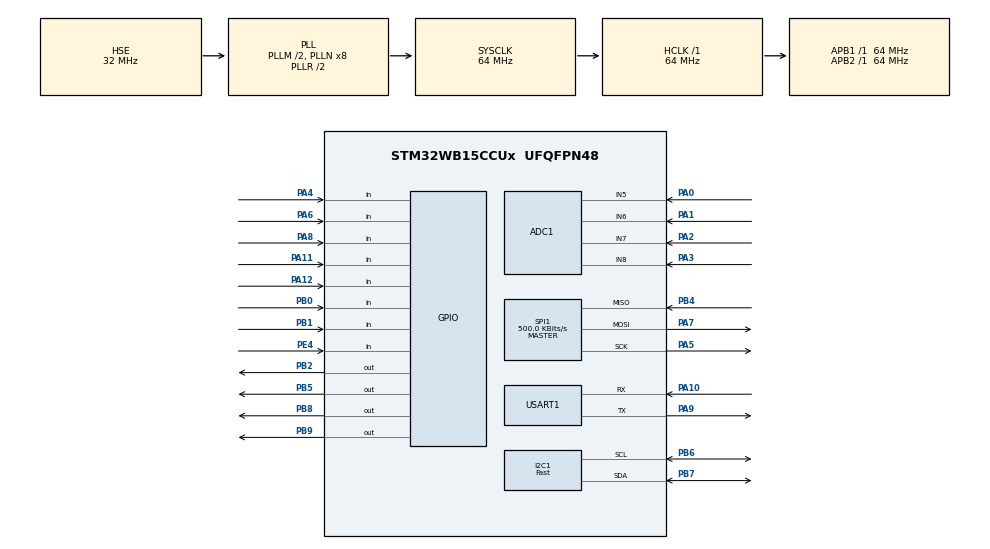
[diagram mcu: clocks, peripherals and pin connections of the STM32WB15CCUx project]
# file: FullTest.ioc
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ADC1.Channel-0\#ChannelRegularConversion=ADC_CHANNEL_5
ADC1.Channel-1\#ChannelRegularConversion=ADC_CHANNEL_6
ADC1.Channel-2\#ChannelRegularConversion=ADC_CHANNEL_7
ADC1.Channel-3\#ChannelRegularConversion=ADC_CHANNEL_8
ADC1.ClockPrescaler=ADC_CLOCK_ASYNC_DIV4
ADC1.ContinuousConvMode=ENABLE
ADC1.DMAContinuousRequests=ENABLE
ADC1.EOCSelection=ADC_EOC_SEQ_CONV
ADC1.NbrOfConversion=4
ADC1.NbrOfConversionFlag=1
ADC1.Overrun=ADC_OVR_DATA_OVERWRITTEN
ADC1.Rank-0\#ChannelRegularConversion=1
ADC1.Rank-1\#ChannelRegularConversion=2
ADC1.Rank-2\#ChannelRegularConversion=3
ADC1.Rank-3\#ChannelRegularConversion=4
ADC1.SamplingTime-0\#ChannelRegularConversion=ADC_SAMPLINGTIME_COMMON_1
ADC1.SamplingTime-1\#ChannelRegularConversion=ADC_SAMPLINGTIME_COMMON_1
ADC1.SamplingTime-2\#ChannelRegularConversion=ADC_SAMPLINGTIME_COMMON_1
ADC1.SamplingTime-3\#ChannelRegularConversion=ADC_SAMPLINGTIME_COMMON_1
ADC1.SamplingTimeCommon1=ADC_SAMPLETIME_19CYCLES_5
ADC1.SamplingTimeCommon2=ADC_SAMPLETIME_19CYCLES_5
ADC1.SelectedChannel=ADC_CHANNEL_5|ADC_CHANNEL_6|ADC_CHANNEL_7|ADC_CHANNEL_8
ADC1.master=1
Dma.ADC1.0.Direction=DMA_PERIPH_TO_MEMORY
Dma.ADC1.0.EventEnable=DISABLE
Dma.ADC1.0.Instance=DMA1_Channel1
Dma.ADC1.0.MemDataAlignment=DMA_MDATAALIGN_HALFWORD
Dma.ADC1.0.MemInc=DMA_MINC_ENABLE
Dma.ADC1.0.Mode=DMA_CIRCULAR
Dma.ADC1.0.PeriphDataAlignment=DMA_PDATAALIGN_HALFWORD
Dma.ADC1.0.PeriphInc=DMA_PINC_DISABLE
Dma.ADC1.0.Polarity=HAL_DMAMUX_REQ_GEN_RISING
Dma.ADC1.0.Priority=DMA_PRIORITY_MEDIUM
Dma.ADC1.0.RequestNumber=1
Dma.ADC1.0.SignalID=NONE
Dma.ADC1.0.SyncEnable=DISABLE
Dma.ADC1.0.SyncPolarity=HAL_DMAMUX_SYNC_NO_EVENT
Dma.ADC1.0.SyncRequestNumber=1
Dma.ADC1.0.SyncSignalID=NONE
Dma.Request0=ADC1
FATFS._FS_LOCK=0
FATFS._USE_LFN=1
I2C1.I2C_Speed_Mode=I2C_Fast
I2C1.Timing=0x00C12166
Mcu.Family=STM32WB
Mcu.Name=STM32WB15CCUx
Mcu.Package=UFQFPN48
NUCLEO-WB15CC.VCP=false
NVIC.HSEM_IRQn=true\:0\:0\:false\:false\:true\:false\:true\:true
NVIC.IPCC_C1_RX_IRQn=true\:0\:0\:false\:false\:true\:true\:true\:true
NVIC.IPCC_C1_TX_IRQn=true\:0\:0\:false\:false\:true\:true\:true\:true
NVIC.PriorityGroup=NVIC_PRIORITYGROUP_4
OSC_IN.GPIO_Label=RCC_OSC_IN
OSC_IN.Mode=HSE-External-Oscillator
OSC_IN.Signal=RCC_OSC_IN
OSC_OUT.GPIO_Label=RCC_OSC_OUT
OSC_OUT.Mode=HSE-External-Oscillator
OSC_OUT.Signal=RCC_OSC_OUT
PA0.Signal=ADCx_IN5
PA1.Signal=ADCx_IN6
PA10.Mode=Asynchronous
PA10.Signal=USART1_RX
PA11.GPIO_PuPd=GPIO_PULLUP
PA11.Signal=GPIO_Input
PA12.GPIO_PuPd=GPIO_PULLUP
PA12.Signal=GPIO_Input
PA13.GPIO_Label=JTMS
PA13.Signal=SYS_JTMS-SWDIO
PA14.GPIO_Label=JTCK
PA14.Signal=SYS_JTCK-SWCLK
PA2.Signal=ADCx_IN7
PA3.Signal=ADCx_IN8
PA4.GPIO_PuPd=GPIO_PULLUP
PA4.Signal=GPIO_Input
PA5.GPIO_PuPd=GPIO_PULLUP
PA5.Mode=Full_Duplex_Master
PA5.Signal=SPI1_SCK
PA6.GPIO_PuPd=GPIO_PULLUP
PA6.Signal=GPIO_Input
PA7.GPIO_PuPd=GPIO_PULLUP
PA7.Mode=Full_Duplex_Master
PA7.Signal=SPI1_MOSI
PA8.GPIO_PuPd=GPIO_PULLUP
PA8.Signal=GPIO_Input
PA9.Mode=Asynchronous
PA9.Signal=USART1_TX
PB0.GPIO_PuPd=GPIO_PULLUP
PB0.Signal=GPIO_Input
PB1.GPIO_PuPd=GPIO_PULLUP
PB1.Signal=GPIO_Input
PB2.GPIO_PuPd=GPIO_PULLUP
PB2.PinState=GPIO_PIN_SET
PB2.Signal=GPIO_Output
PB3.GPIO_Label=JTDO
PB3.Signal=SYS_JTDO-SWO
PB4.GPIO_PuPd=GPIO_PULLUP
PB4.Mode=Full_Duplex_Master
PB4.Signal=SPI1_MISO
PB5.Signal=GPIO_Output
PB6.Mode=I2C
PB6.Signal=I2C1_SCL
PB7.Mode=I2C
PB7.Signal=I2C1_SDA
PB8.Signal=GPIO_Output
PB9.Signal=GPIO_Output
PC14-OSC32_IN.Mode=LSE-External-Oscillator
PC14-OSC32_IN.Signal=RCC_OSC32_IN
PC15-OSC32_OUT.Mode=LSE-External-Oscillator
PC15-OSC32_OUT.Signal=RCC_OSC32_OUT
PE4.GPIO_PuPd=GPIO_PULLUP
PE4.Signal=GPIO_Input
ProjectManager.HeapSize=0x200
ProjectManager.StackSize=0x400
ProjectManager.TargetToolchain=STM32CubeIDE
RCC.AHB2CLKDivider=RCC_SYSCLK_DIV2
RCC.AHBFreq_Value=64000000
RCC.APB1Freq_Value=64000000
RCC.APB1TimFreq_Value=64000000
RCC.APB2Freq_Value=64000000
RCC.APB2TimFreq_Value=64000000
RCC.APB3Freq_Value=16000000
RCC.CortexFreq_Value=64000000
RCC.HCLKFreq_Value=64000000
RCC.HSE_VALUE=32000000
RCC.HSI_VALUE=16000000
RCC.PLLM=RCC_PLLM_DIV2
RCC.PLLSourceVirtual=RCC_PLLSOURCE_HSE
RCC.SYSCLKFreq_VALUE=64000000
RCC.SYSCLKSource=RCC_SYSCLKSOURCE_PLLCLK
RCC.VCOOutputFreq_Value=128000000
RF1.Mode=RF1_Activate
RF1.Signal=RF_RF1
SH.ADCx_IN5.0=ADC1_IN5,IN5-Single-Ended
SH.ADCx_IN6.0=ADC1_IN6,IN6-Single-Ended
SH.ADCx_IN7.0=ADC1_IN7,IN7-Single-Ended
SH.ADCx_IN8.0=ADC1_IN8,IN8-Single-Ended
SPI1.BaudRatePrescaler=SPI_BAUDRATEPRESCALER_128
SPI1.CalculateBaudRate=500.0 KBits/s
SPI1.Direction=SPI_DIRECTION_2LINES
SPI1.Mode=SPI_MODE_MASTER
SPI1.VirtualType=VM_MASTER
STM32_WPAN.CUSTOM_P2P_SERVER=Disabled
USART1.VirtualMode-Asynchronous=VM_ASYNC
VP_FATFS_VS_Generic.Mode=User_defined
VP_HSEM_VS_HSEM.Mode=HSEM_Activate
VP_IPCC_VS_IPCC.Mode=IPCC_Activate
VP_MEMORYMAP_VS_MEMORYMAP.Mode=CurAppReg
VP_NUCLEO-WB15CC_VS_BSP_COMMON.Mode=COMMON
VP_RNG_VS_RNG.Mode=RNG_Activate
VP_RTC_VS_RTC_Activate.Mode=RTC_Enabled
VP_RTC_VS_RTC_Calendar.Mode=RTC_Calendar
VP_RTC_VS_RTC_WakeUp_intern.Mode=WakeUp
VP_SEQUENCER_VS_SEQUENCER.Mode=SEQUENCER_Enabled
VP_STM32_WPAN_VS_BLE_HOST.Mode=STM32_WPAN_Enabled
VP_TINY_LPM_VS_TINY_LPM.Mode=TINY_LPM_Enabled
board=NUCLEO-WB15CC

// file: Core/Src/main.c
/* USER CODE BEGIN Header */
/**
  ******************************************************************************
  * @file           : main.c
  * @brief          : Main program body
  ******************************************************************************
  * @attention
  *
  * Copyright (c) 2026 STMicroelectronics.
  * All rights reserved.
  *
  * This software is licensed under terms that can be found in the LICENSE file
  * in the root directory of this software component.
  * If no LICENSE file comes with this software, it is provided AS-IS.
  *
  ******************************************************************************
  */
/* USER CODE END Header */
#include "main.h"
#include "app_fatfs.h"

/* USER CODE BEGIN Includes */

#include <stdio.h>
#include "icm20948.h"
#include "stm32_seq.h"
#include "hids_app.h"

#include "config.h"
#include "pins.h"

#include "buttons.h"
#include "led.h"
#include "motor.h"
#include "gesture_detector.h"
#include "adaptive_analyzer.h"
#include "gyro_to_mouse.h"
#include "sensor_data.h"
#include "gyro_filters.h"

/* USER CODE END Includes */

ADC_HandleTypeDef hadc1;

DMA_HandleTypeDef hdma_adc1;

I2C_HandleTypeDef hi2c1;

IPCC_HandleTypeDef hipcc;

RNG_HandleTypeDef hrng;

RTC_HandleTypeDef hrtc;

SPI_HandleTypeDef hspi1;

UART_HandleTypeDef huart1;

/* USER CODE BEGIN PV */

ICM20948_Data_t imu_data;

MagData_t mag_data;

/* USER CODE END PV */

void SystemClock_Config(void);
void PeriphCommonClock_Config(void);
static void MX_RF_Init(void);
static void MX_GPIO_Init(void);
static void MX_DMA_Init(void);
static void MX_ADC1_Init(void);
static void MX_I2C1_Init(void);
static void MX_SPI1_Init(void);
static void MX_IPCC_Init(void);
static void MX_RNG_Init(void);
static void MX_RTC_Init(void);
static void MX_USART1_UART_Init(void);
/* USER CODE BEGIN PFP */

void TakeData(SensorData_t *datastruct);
void PrintDisplay(SensorData_t *data, bool blockHID, MousePos_t mouse_pos, GestureType_t gesture);
void PrintAnalyzerView(void);
void PrintLogView(void);

/* USER CODE END PFP */

/* USER CODE BEGIN 0 */

volatile uint16_t adc_results[4] __attribute__((aligned(32)));

/* USER CODE END 0 */

int main(void)
{

    HAL_Init();
    MX_APPE_Config();

    SystemClock_Config();
    PeriphCommonClock_Config();
    MX_IPCC_Init();

    MX_RF_Init();
    MX_GPIO_Init();
    MX_DMA_Init();
    MX_ADC1_Init();
    MX_I2C1_Init();
    MX_SPI1_Init();
    if (MX_FATFS_Init() != APP_OK)
    {
        Error_Handler();
    }
    MX_RNG_Init();
    MX_RTC_Init();
    MX_USART1_UART_Init();

    MX_APPE_Init();

    /* USER CODE BEGIN WHILE */

    printf("\033[2J\033[H");

    printf("Setting up device...\r\n");

    extern FATFS USERFatFs;
    extern FIL   USERFile;
    extern char  USERPath[4];

    printf("Loading Initial Configs...\r\n");
    Config_Init();
    printf("Initial Configs Loaded!\r\n");

    printf("\r\nCalibrating ADC...\r\n");
    if (HAL_ADCEx_Calibration_Start(&hadc1, ADC_SINGLE_ENDED) != HAL_OK)
    {
        printf("ADC Calibration failed!\r\n");
        while(1);
    }
    printf("ADC calibrated successfully!\r\n");

    printf("Starting DMA...\r\n");
    if (HAL_ADC_Start_DMA(&hadc1, (uint32_t*)adc_results, 4) != HAL_OK)
    {
        printf("DMA start failed!\r\n");
        while(1);
    }
    printf("DMA started successfully!\r\n");

    /*
    HAL_Delay(100);

    int32_t sum_js1_x = 0, sum_js1_y = 0, sum_js2_x = 0, sum_js2_y = 0;
    uint32_t sample_count = 0;

    uint32_t start_time = HAL_GetTick();
    while (HAL_GetTick() - start_time < 1000)
    {
        sum_js1_x += adc_results[0];
        sum_js1_y += adc_results[1];
        sum_js2_x += adc_results[2];
        sum_js2_y += adc_results[3];
        sample_count++;
        HAL_Delay(10);
    }

    if (sample_count > 0)
    {
        float avg_js1_x = (float)sum_js1_x / sample_count;
        float avg_js1_y = (float)sum_js1_y / sample_count;
        float avg_js2_x = (float)sum_js2_x / sample_count;
        float avg_js2_y = (float)sum_js2_y / sample_count;

        printf("--- Joystick Neutral Position (avg over %lu samples) ---\r\n", (unsigned long)sample_count);
        printf("JS1 X:%6.1f Y:%6.1f\r\n", avg_js1_x, avg_js1_y);
        printf("JS2 X:%6.1f Y:%6.1f\r\n", avg_js2_x, avg_js2_y);

    }
    printf("\r\n");*/

    printf("Initializing ICM-20948...\r\n");
    if (ICM20948_Init(&hi2c1) != HAL_OK)
    {
        printf("ICM-20948 initialization failed!\r\n");
    }
    printf("ICM-20948 initialized successfully!\r\n");

    // Test 1.1 - WHO_AM_I check
    uint8_t who_am_i;
    if (ICM20948_WhoAmI(&hi2c1, &who_am_i) == HAL_OK)
    {
        printf("WHO_AM_I = 0x%02X (expected 0xEA) -> %s\r\n",
            who_am_i, (who_am_i == 0xEA) ? "PASS" : "FAIL");
    }
    else
    {
        printf("WHO_AM_I read failed -> FAIL\r\n");
    }

    printf("Initializing magnetometer...\r\n");
    if (ICM20948_InitMagnetometer(&hi2c1) != HAL_OK)
    {
        printf("Magnetometer initialization failed!\r\n");
    }
    printf("Magnetometer ready!\r\n");

    /* Test 1.2/1.3/1.4 - Average sensor values at rest over 5 seconds
    printf("--- Averaging Sensor Values at Rest (5s) ---\r\n");

    int32_t sum_gyro_x = 0, sum_gyro_y = 0, sum_gyro_z = 0;
    int32_t sum_accel_x = 0, sum_accel_y = 0, sum_accel_z = 0;
    float   sum_mag_x = 0, sum_mag_y = 0, sum_mag_z = 0;
    uint32_t sample_count = 0;

    ICM20948_Data_t test_data;
    MagData_t       test_mag;

    uint32_t start_time = HAL_GetTick();
    while (HAL_GetTick() - start_time < 5000)
    {
        if (ICM20948_ReadAll(&hi2c1, &test_data) == HAL_OK)
        {
            sum_gyro_x  += test_data.gyro_x;
            sum_gyro_y  += test_data.gyro_y;
            sum_gyro_z  += test_data.gyro_z;
            sum_accel_x += test_data.accel_x;
            sum_accel_y += test_data.accel_y;
            sum_accel_z += test_data.accel_z;

            if (ICM20948_ReadMagnetometer(&hi2c1, &test_mag) == HAL_OK)
            {
                sum_mag_x += test_mag.x_ut;
                sum_mag_y += test_mag.y_ut;
                sum_mag_z += test_mag.z_ut;
            }

            sample_count++;
        }
        HAL_Delay(10);
    }

    if (sample_count > 0)
    {
        printf("Samples: %lu\r\n", (unsigned long)sample_count);
        printf("Gyro  AVG X:%6.1f Y:%6.1f Z:%6.1f\r\n",
            (float)sum_gyro_x / sample_count,
            (float)sum_gyro_y / sample_count,
            (float)sum_gyro_z / sample_count);
        printf("Accel AVG X:%6.1f Y:%6.1f Z:%6.1f\r\n",
            (float)sum_accel_x / sample_count,
            (float)sum_accel_y / sample_count,
            (float)sum_accel_z / sample_count);
        printf("Mag   AVG X:%7.2f Y:%7.2f Z:%7.2f uT\r\n",
            sum_mag_x / sample_count,
            sum_mag_y / sample_count,
            sum_mag_z / sample_count);
    }
    else
    {
        printf("No samples collected\r\n");
    }
    printf("\r\n");*/

    printf("Initializing SDCard Reader and Data Logger...\r\n");
    DataLogger_Init(&USERFatFs, &USERFile, USERPath);
    DataLogger_LoadConfig();
    printf("SDCard Reader and Data Logger ready!\r\n");

    printf("Initializing modules...\r\n");
    GestureDetector_Init();

    printf("Initializing Variables...\r\n");
    static uint32_t last_led_toggle = 0;
    static bool     motor_triggered = false;
    static uint8_t  display_page    = 0;
    static float    smooth_gyro_x   = 0.0f;
    static float    smooth_gyro_y   = 0.0f;
    static float    smooth_gyro_z   = 0.0f;
    static float    smooth_mag_x    = 0.0f;
    static float    smooth_mag_y    = 0.0f;
    static float    smooth_mag_z    = 0.0f;
    static bool     first           = true;
    static bool     blockHID        = false;
    SensorData_t    sensor_data;

    printf("Entering Main Loop!\r\n");

    /* USER CODE END 2 */

    while (1)
    {
        /* USER CODE END WHILE */

        MX_APPE_Process();
        UTIL_SEQ_Run(UTIL_SEQ_DEFAULT);

        /* USER CODE BEGIN 3 */

        // Update timers
        DataLogger_Update();
        setMotorTimed_Update();

        // Heartbeat LED
        if (HAL_GetTick() - last_led_toggle >= 500)
        {
            toggleLED();
            last_led_toggle = HAL_GetTick();
        }

        // Read all sensor data
        TakeData(&sensor_data);

        // Gyro bias correction
        sensor_data.gyro_x -= (int16_t)gyro_bias_x;
        sensor_data.gyro_y -= (int16_t)gyro_bias_y;

        // BUTTON5 - block HID
        // BUTTON5 - toggle HID block
        static bool btn5_last = true;
        bool btn5_now = sensor_data.buttons.BUTTON5;
        if (btn5_last == false && btn5_now == true)
        {
            blockHID = !blockHID;
        }
        btn5_last = btn5_now;

        // BUTTON6 - haptic feedback
        if (!sensor_data.buttons.BUTTON6)
        {
            if (!motor_triggered)
            {
                setMotorTimed(BOTH, 1000);
                motor_triggered = true;
            }
        }
        else
        {
            motor_triggered = false;
        }

        // JS1 - run adaptive analyzer
        static bool js1_last = true;
        bool js1_now = sensor_data.buttons.JOYSTICKBUTTON1;
        if (js1_last == false && js1_now == true)
        {
            AdaptiveAnalyzer_Run();
        }
        js1_last = js1_now;

        // JS2 - break config for demo
        static bool js2_last = true;
        bool js2_now = sensor_data.buttons.BUTTON2;
        if (js2_last == false && js2_now == true)
        {
            AdaptiveAnalyzer_BreakConfig();
        }
        js2_last = js2_now;

        // BUTTON4 - cycle display page
        static bool btn4_last = true;
        bool btn4_now = sensor_data.buttons.BUTTON4;
        if (btn4_last == false && btn4_now == true)
        {
            display_page = (display_page + 1) % 4;
            printf("\033[2J\033[H");
        }
        btn4_last = btn4_now;

        // Gesture detection and haptic feedback
        GestureType_t gesture = GestureDetector_Update(&sensor_data);
        if (gesture != GESTURE_NONE)
        {
            switch (gesture)
            {
                case GESTURE_NONE:       break;
                case GESTURE_FLICK_LEFT:  setMotorTimed(BOTH, 100); break;
                case GESTURE_FLICK_RIGHT: setMotorTimed(BOTH, 100); break;
                case GESTURE_FLICK_UP:    setMotorTimed(BOTH, 100); break;
                case GESTURE_FLICK_DOWN:  setMotorTimed(BOTH, 100); break;
                case GESTURE_ROTATE_CW:   setMotorTimed(BOTH, 100); break;
                case GESTURE_ROTATE_CCW:  setMotorTimed(BOTH, 100); break;
            }
        }

        // Calculate Cursor Movement
        MousePos_t mouse_pos = GyroMouse_Update(sensor_data.mag_x, sensor_data.mag_y, sensor_data.mag_z, blockHID);

        // BLE HID mouse reports via gyroscope
		static bool  last_block = false;
		static float accum_x    = 0.0f;
		static float accum_y    = 0.0f;

		if (last_block && !blockHID)
			HIDSAPP_SendMouseReport(0, 0, 0);
		last_block = blockHID;

		if (!blockHID)
		{
			float sg_x, sg_y;
			GyroMouse_GetSmoothedGyro(sensor_data.gyro_x, sensor_data.gyro_y, &sg_x, &sg_y);

			accum_x += -sg_y / 1500.0f;
			accum_y +=  sg_x / 1500.0f;

			if (accum_x >  20.0f) accum_x =  20.0f;
			if (accum_x < -20.0f) accum_x = -20.0f;
			if (accum_y >  20.0f) accum_y =  20.0f;
			if (accum_y < -20.0f) accum_y = -20.0f;

			int8_t report_x = (int8_t)accum_x;
			int8_t report_y = (int8_t)accum_y;

			accum_x -= report_x;
			accum_y -= report_y;

			//printf("Sending HID Report: X = %f, Y = %f\r\n", accum_x, accum_y);
			HIDSAPP_SendMouseReport(report_x, report_y, 0);
		}

        // Display
        switch (display_page)
        {
            case 0: break;
            case 1: PrintDisplay(&sensor_data, blockHID, mouse_pos, gesture); break;
            case 2: PrintAnalyzerView(); break;
            case 3: PrintLogView(); break;
        }
    }
    /* USER CODE END 3 */
}

void SystemClock_Config(void)
{
  RCC_OscInitTypeDef RCC_OscInitStruct = {0};
  RCC_ClkInitTypeDef RCC_ClkInitStruct = {0};

  /** Initializes the RCC Oscillators according to the specified parameters
  * in the RCC_OscInitTypeDef structure.
  */
  RCC_OscInitStruct.OscillatorType = RCC_OSCILLATORTYPE_HSI|RCC_OSCILLATORTYPE_LSI1
                              |RCC_OSCILLATORTYPE_HSE;
  RCC_OscInitStruct.HSEState = RCC_HSE_ON;
  RCC_OscInitStruct.HSIState = RCC_HSI_ON;
  RCC_OscInitStruct.HSICalibrationValue = RCC_HSICALIBRATION_DEFAULT;
  RCC_OscInitStruct.LSIState = RCC_LSI_ON;
  RCC_OscInitStruct.PLL.PLLState = RCC_PLL_ON;
  RCC_OscInitStruct.PLL.PLLSource = RCC_PLLSOURCE_HSE;
  RCC_OscInitStruct.PLL.PLLM = RCC_PLLM_DIV2;
  RCC_OscInitStruct.PLL.PLLN = 8;
  RCC_OscInitStruct.PLL.PLLP = RCC_PLLP_DIV2;
  RCC_OscInitStruct.PLL.PLLR = RCC_PLLR_DIV2;
  RCC_OscInitStruct.PLL.PLLQ = RCC_PLLQ_DIV2;
  if (HAL_RCC_OscConfig(&RCC_OscInitStruct) != HAL_OK)
  {
    Error_Handler();
  }

  /** Configure the SYSCLKSource, HCLK, PCLK1 and PCLK2 clocks dividers
  */
  RCC_ClkInitStruct.ClockType = RCC_CLOCKTYPE_HCLK4|RCC_CLOCKTYPE_HCLK2
                              |RCC_CLOCKTYPE_HCLK|RCC_CLOCKTYPE_SYSCLK
                              |RCC_CLOCKTYPE_PCLK1|RCC_CLOCKTYPE_PCLK2;
  RCC_ClkInitStruct.SYSCLKSource = RCC_SYSCLKSOURCE_PLLCLK;
  RCC_ClkInitStruct.AHBCLKDivider = RCC_SYSCLK_DIV1;
  RCC_ClkInitStruct.APB1CLKDivider = RCC_HCLK_DIV1;
  RCC_ClkInitStruct.APB2CLKDivider = RCC_HCLK_DIV1;
  RCC_ClkInitStruct.AHBCLK2Divider = RCC_SYSCLK_DIV2;
  RCC_ClkInitStruct.AHBCLK4Divider = RCC_SYSCLK_DIV1;

  if (HAL_RCC_ClockConfig(&RCC_ClkInitStruct, FLASH_LATENCY_3) != HAL_OK)
  {
    Error_Handler();
  }
}

void PeriphCommonClock_Config(void)
{
  RCC_PeriphCLKInitTypeDef PeriphClkInitStruct = {0};

  /** Initializes the peripherals clock
  */
  PeriphClkInitStruct.PeriphClockSelection = RCC_PERIPHCLK_SMPS|RCC_PERIPHCLK_RFWAKEUP;
  PeriphClkInitStruct.RFWakeUpClockSelection = RCC_RFWKPCLKSOURCE_LSI;
  PeriphClkInitStruct.SmpsClockSelection = RCC_SMPSCLKSOURCE_HSI;
  PeriphClkInitStruct.SmpsDivSelection = RCC_SMPSCLKDIV_RANGE1;

  if (HAL_RCCEx_PeriphCLKConfig(&PeriphClkInitStruct) != HAL_OK)
  {
    Error_Handler();
  }
}

static void MX_ADC1_Init(void)
{

  ADC_ChannelConfTypeDef sConfig = {0};

  /** Common config
  */
  hadc1.Instance = ADC1;
  hadc1.Init.ClockPrescaler = ADC_CLOCK_ASYNC_DIV4;
  hadc1.Init.Resolution = ADC_RESOLUTION_12B;
  hadc1.Init.DataAlign = ADC_DATAALIGN_RIGHT;
  hadc1.Init.ScanConvMode = ADC_SCAN_ENABLE;
  hadc1.Init.EOCSelection = ADC_EOC_SEQ_CONV;
  hadc1.Init.SamplingTimeCommon1 = ADC_SAMPLETIME_19CYCLES_5;
  hadc1.Init.SamplingTimeCommon2 = ADC_SAMPLETIME_19CYCLES_5;
  hadc1.Init.LowPowerAutoWait = DISABLE;
  hadc1.Init.ContinuousConvMode = ENABLE;
  hadc1.Init.NbrOfConversion = 4;
  hadc1.Init.DiscontinuousConvMode = DISABLE;
  hadc1.Init.ExternalTrigConv = ADC_SOFTWARE_START;
  hadc1.Init.ExternalTrigConvEdge = ADC_EXTERNALTRIGCONVEDGE_NONE;
  hadc1.Init.DMAContinuousRequests = ENABLE;
  hadc1.Init.Overrun = ADC_OVR_DATA_OVERWRITTEN;
  if (HAL_ADC_Init(&hadc1) != HAL_OK)
  {
    Error_Handler();
  }

  /** Configure Regular Channel
  */
  sConfig.Channel = ADC_CHANNEL_5;
  sConfig.Rank = ADC_REGULAR_RANK_1;
  sConfig.SamplingTime = ADC_SAMPLINGTIME_COMMON_1;
  if (HAL_ADC_ConfigChannel(&hadc1, &sConfig) != HAL_OK)
  {
    Error_Handler();
  }

  /** Configure Regular Channel
  */
  sConfig.Channel = ADC_CHANNEL_6;
  sConfig.Rank = ADC_REGULAR_RANK_2;
  if (HAL_ADC_ConfigChannel(&hadc1, &sConfig) != HAL_OK)
  {
    Error_Handler();
  }

  /** Configure Regular Channel
  */
  sConfig.Channel = ADC_CHANNEL_7;
  sConfig.Rank = ADC_REGULAR_RANK_3;
  if (HAL_ADC_ConfigChannel(&hadc1, &sConfig) != HAL_OK)
  {
    Error_Handler();
  }

  /** Configure Regular Channel
  */
  sConfig.Channel = ADC_CHANNEL_8;
  sConfig.Rank = ADC_REGULAR_RANK_4;
  if (HAL_ADC_ConfigChannel(&hadc1, &sConfig) != HAL_OK)
  {
    Error_Handler();
  }

}

static void MX_I2C1_Init(void)
{

  hi2c1.Instance = I2C1;
  hi2c1.Init.Timing = 0x00C12166;
  hi2c1.Init.OwnAddress1 = 0;
  hi2c1.Init.AddressingMode = I2C_ADDRESSINGMODE_7BIT;
  hi2c1.Init.DualAddressMode = I2C_DUALADDRESS_DISABLE;
  hi2c1.Init.OwnAddress2 = 0;
  hi2c1.Init.OwnAddress2Masks = I2C_OA2_NOMASK;
  hi2c1.Init.GeneralCallMode = I2C_GENERALCALL_DISABLE;
  hi2c1.Init.NoStretchMode = I2C_NOSTRETCH_DISABLE;
  if (HAL_I2C_Init(&hi2c1) != HAL_OK)
  {
    Error_Handler();
  }

  /** Configure Analogue filter
  */
  if (HAL_I2CEx_ConfigAnalogFilter(&hi2c1, I2C_ANALOGFILTER_ENABLE) != HAL_OK)
  {
    Error_Handler();
  }

  /** Configure Digital filter
  */
  if (HAL_I2CEx_ConfigDigitalFilter(&hi2c1, 0) != HAL_OK)
  {
    Error_Handler();
  }

}

static void MX_IPCC_Init(void)
{

  hipcc.Instance = IPCC;
  if (HAL_IPCC_Init(&hipcc) != HAL_OK)
  {
    Error_Handler();
  }

}

static void MX_RF_Init(void)
{

}

static void MX_RNG_Init(void)
{

  hrng.Instance = RNG;
  hrng.Init.ClockErrorDetection = RNG_CED_ENABLE;
  if (HAL_RNG_Init(&hrng) != HAL_OK)
  {
    Error_Handler();
  }

}

static void MX_RTC_Init(void)
{

  RTC_TimeTypeDef sTime = {0};
  RTC_DateTypeDef sDate = {0};

  /** Initialize RTC Only
  */
  hrtc.Instance = RTC;
  hrtc.Init.HourFormat = RTC_HOURFORMAT_24;
  hrtc.Init.AsynchPrediv = CFG_RTC_ASYNCH_PRESCALER;
  hrtc.Init.SynchPrediv = CFG_RTC_SYNCH_PRESCALER;
  hrtc.Init.OutPut = RTC_OUTPUT_DISABLE;
  hrtc.Init.OutPutPolarity = RTC_OUTPUT_POLARITY_HIGH;
  hrtc.Init.OutPutRemap = RTC_OUTPUT_REMAP_NONE;
  if (HAL_RTC_Init(&hrtc) != HAL_OK)
  {
    Error_Handler();
  }

  /** Initialize RTC and set the Time and Date
  */
  sTime.Hours = 0x0;
  sTime.Minutes = 0x0;
  sTime.Seconds = 0x0;
  sTime.SubSeconds = 0x0;
  sTime.DayLightSaving = RTC_DAYLIGHTSAVING_NONE;
  sTime.StoreOperation = RTC_STOREOPERATION_RESET;
  if (HAL_RTC_SetTime(&hrtc, &sTime, RTC_FORMAT_BCD) != HAL_OK)
  {
    Error_Handler();
  }
  sDate.WeekDay = RTC_WEEKDAY_MONDAY;
  sDate.Month = RTC_MONTH_JANUARY;
  sDate.Date = 0x1;
  sDate.Year = 0x0;

  if (HAL_RTC_SetDate(&hrtc, &sDate, RTC_FORMAT_BCD) != HAL_OK)
  {
    Error_Handler();
  }

  /** Enable the WakeUp
  */
  //if (HAL_RTCEx_SetWakeUpTimer(&hrtc, 0, RTC_WAKEUPCLOCK_RTCCLK_DIV16) != HAL_OK)
  //{
  //  Error_Handler();
  //}

}

static void MX_SPI1_Init(void)
{

  /* SPI1 parameter configuration*/
  hspi1.Instance = SPI1;
  hspi1.Init.Mode = SPI_MODE_MASTER;
  hspi1.Init.Direction = SPI_DIRECTION_2LINES;
  hspi1.Init.DataSize = SPI_DATASIZE_8BIT;
  hspi1.Init.CLKPolarity = SPI_POLARITY_LOW;
  hspi1.Init.CLKPhase = SPI_PHASE_1EDGE;
  hspi1.Init.NSS = SPI_NSS_SOFT;
  hspi1.Init.BaudRatePrescaler = SPI_BAUDRATEPRESCALER_128;
  hspi1.Init.FirstBit = SPI_FIRSTBIT_MSB;
  hspi1.Init.TIMode = SPI_TIMODE_DISABLE;
  hspi1.Init.CRCCalculation = SPI_CRCCALCULATION_DISABLE;
  hspi1.Init.CRCPolynomial = 7;
  hspi1.Init.CRCLength = SPI_CRC_LENGTH_DATASIZE;
  hspi1.Init.NSSPMode = SPI_NSS_PULSE_ENABLE;
  if (HAL_SPI_Init(&hspi1) != HAL_OK)
  {
    Error_Handler();
  }

}

static void MX_USART1_UART_Init(void)
{

  huart1.Instance = USART1;
  huart1.Init.BaudRate = 115200;
  huart1.Init.WordLength = UART_WORDLENGTH_8B;
  huart1.Init.StopBits = UART_STOPBITS_1;
  huart1.Init.Parity = UART_PARITY_NONE;
  huart1.Init.Mode = UART_MODE_TX_RX;
  huart1.Init.HwFlowCtl = UART_HWCONTROL_NONE;
  huart1.Init.OverSampling = UART_OVERSAMPLING_16;
  huart1.Init.OneBitSampling = UART_ONE_BIT_SAMPLE_DISABLE;
  huart1.Init.ClockPrescaler = UART_PRESCALER_DIV1;
  huart1.AdvancedInit.AdvFeatureInit = UART_ADVFEATURE_NO_INIT;
  if (HAL_UART_Init(&huart1) != HAL_OK)
  {
    Error_Handler();
  }
  if (HAL_UARTEx_SetTxFifoThreshold(&huart1, UART_TXFIFO_THRESHOLD_1_8) != HAL_OK)
  {
    Error_Handler();
  }
  if (HAL_UARTEx_SetRxFifoThreshold(&huart1, UART_RXFIFO_THRESHOLD_1_8) != HAL_OK)
  {
    Error_Handler();
  }
  if (HAL_UARTEx_DisableFifoMode(&huart1) != HAL_OK)
  {
    Error_Handler();
  }

}

static void MX_DMA_Init(void)
{

  /* DMA controller clock enable */
  __HAL_RCC_DMAMUX1_CLK_ENABLE();
  __HAL_RCC_DMA1_CLK_ENABLE();

}

static void MX_GPIO_Init(void)
{
  GPIO_InitTypeDef GPIO_InitStruct = {0};

  /* GPIO Ports Clock Enable */
  __HAL_RCC_GPIOC_CLK_ENABLE();
  __HAL_RCC_GPIOB_CLK_ENABLE();
  __HAL_RCC_GPIOA_CLK_ENABLE();
  __HAL_RCC_GPIOE_CLK_ENABLE();

  /*Configure GPIO pin Output Level */
  HAL_GPIO_WritePin(GPIOB, GPIO_PIN_8|GPIO_PIN_9|GPIO_PIN_5, GPIO_PIN_RESET);

  /*Configure GPIO pin Output Level */
  HAL_GPIO_WritePin(GPIOB, GPIO_PIN_2, GPIO_PIN_SET);

  /*Configure GPIO pins : PB8 PB9 PB5 */
  GPIO_InitStruct.Pin = GPIO_PIN_8|GPIO_PIN_9|GPIO_PIN_5;
  GPIO_InitStruct.Mode = GPIO_MODE_OUTPUT_PP;
  GPIO_InitStruct.Pull = GPIO_NOPULL;
  GPIO_InitStruct.Speed = GPIO_SPEED_FREQ_LOW;
  HAL_GPIO_Init(GPIOB, &GPIO_InitStruct);

  /*Configure GPIO pins : PA4 PA6 PA8 PA11
                           PA12 */
  GPIO_InitStruct.Pin = GPIO_PIN_4|GPIO_PIN_6|GPIO_PIN_8|GPIO_PIN_11
                          |GPIO_PIN_12;
  GPIO_InitStruct.Mode = GPIO_MODE_INPUT;
  GPIO_InitStruct.Pull = GPIO_PULLUP;
  HAL_GPIO_Init(GPIOA, &GPIO_InitStruct);

  /*Configure GPIO pin : PB2 */
  GPIO_InitStruct.Pin = GPIO_PIN_2;
  GPIO_InitStruct.Mode = GPIO_MODE_OUTPUT_PP;
  GPIO_InitStruct.Pull = GPIO_PULLUP;
  GPIO_InitStruct.Speed = GPIO_SPEED_FREQ_LOW;
  HAL_GPIO_Init(GPIOB, &GPIO_InitStruct);

  /*Configure GPIO pins : PB0 PB1 */
  GPIO_InitStruct.Pin = GPIO_PIN_0|GPIO_PIN_1;
  GPIO_InitStruct.Mode = GPIO_MODE_INPUT;
  GPIO_InitStruct.Pull = GPIO_PULLUP;
  HAL_GPIO_Init(GPIOB, &GPIO_InitStruct);

  /*Configure GPIO pin : PE4 */
  GPIO_InitStruct.Pin = GPIO_PIN_4;
  GPIO_InitStruct.Mode = GPIO_MODE_INPUT;
  GPIO_InitStruct.Pull = GPIO_PULLUP;
  HAL_GPIO_Init(GPIOE, &GPIO_InitStruct);

}

/* USER CODE BEGIN 4 */

int __io_putchar(int ch)
{
    HAL_UART_Transmit(&huart1, (uint8_t*)&ch, 1, HAL_MAX_DELAY);
    return ch;
}

void TakeData(SensorData_t *datastruct)
{
	datastruct->timestamp_ms = HAL_GetTick();

	datastruct->buttons = ReadButtons();

	datastruct->js1_x = adc_results[0];
	datastruct->js1_y = adc_results[1];
	datastruct->js2_x = adc_results[2];
	datastruct->js2_y = adc_results[3];

	if(ICM20948_ReadAll(&hi2c1, &imu_data) == HAL_OK)
	{
		datastruct->gyro_x = imu_data.gyro_x;
		datastruct->gyro_y = imu_data.gyro_y;
		datastruct->gyro_z = imu_data.gyro_z;

		datastruct->accel_x = imu_data.accel_x;
		datastruct->accel_y = imu_data.accel_y;
		datastruct->accel_z = imu_data.accel_z;

		if(ICM20948_ReadMagnetometer(&hi2c1, &mag_data) == HAL_OK)
		{
			datastruct->mag_x = mag_data.x_ut;
			datastruct->mag_y = mag_data.y_ut;
			datastruct->mag_z = mag_data.z_ut;
		}
	}
}

void PrintDisplay(SensorData_t *data, bool blockHID, MousePos_t mouse_pos, GestureType_t gesture)
{
    static GestureType_t last_gesture      = GESTURE_NONE;
    static uint32_t      last_gesture_time = 0;

    if (gesture != GESTURE_NONE)
    {
        last_gesture      = gesture;
        last_gesture_time = HAL_GetTick();
    }

    uint32_t time_since = last_gesture_time == 0 ? 0 : HAL_GetTick() - last_gesture_time;

    printf("\033[1;1H[ BUTTONS ]\033[K");
    printf("\033[2;1HBTN1:%s BTN2:%s BTN3:%s\033[K", data->buttons.BUTTON1 ? "UP" : "DN", data->buttons.BUTTON2 ? "UP" : "DN", data->buttons.BUTTON3 ? "UP" : "DN");
    printf("\033[3;1HBTN4:%s BTN5:%s BTN6:%s\033[K", data->buttons.BUTTON4 ? "UP" : "DN", data->buttons.BUTTON5 ? "UP" : "DN", data->buttons.BUTTON6 ? "UP" : "DN");
    printf("\033[4;1HJS1:%s JS2:%s HID:%s\033[K",    data->buttons.JOYSTICKBUTTON1 ? "UP" : "DN", data->buttons.JOYSTICKBUTTON2 ? "UP" : "DN", blockHID ? "BLK" : "ON ");

    printf("\033[6;1H[ JOYSTICKS ]\033[K");
    printf("\033[7;1HJS1 X:%4d Y:%4d\033[K", data->js1_x, data->js1_y);
    printf("\033[8;1HJS2 X:%4d Y:%4d\033[K", data->js2_x, data->js2_y);

    printf("\033[10;1H[ SENSORS ]\033[K");
    printf("\033[11;1HGyro  X:%7.1f Y:%7.1f Z:%7.1f\033[K", (float)data->gyro_x, (float)data->gyro_y, (float)data->gyro_z);
    printf("\033[12;1HAccel X:%7d Y:%7d Z:%7d\033[K",       data->accel_x, data->accel_y, data->accel_z);
    printf("\033[13;1HMag   X:%7.2f Y:%7.2f Z:%7.2f uT\033[K", data->mag_x, data->mag_y, data->mag_z);

    printf("\033[15;1H[ MOUSE ]\033[K");
    printf("\033[16;1HX:%4d Y:%4d\033[K", mouse_pos.x, mouse_pos.y);

    printf("\033[18;1H[ GESTURE ]\033[K");
    if (last_gesture == GESTURE_NONE)
        printf("\033[19;1HNone yet\033[K");
    else
        printf("\033[19;1H%-15s %lums ago\033[K", GestureDetector_Gesturetostring(last_gesture), (unsigned long)time_since);
}

void PrintAnalyzerView(void)
{
    printf("\033[1;1H[ ANALYZER ]\033[K");
    printf("\033[2;1HThresh:%8.1f  Window:%lums  Frac:%.2f\033[K",
        gesture_magnitude_threshold,
        (unsigned long)gesture_detection_window_ms,
        gesture_peak_fraction);
    printf("\033[3;1HBias X:%8.1f  Bias Y:%8.1f\033[K", gyro_bias_x, gyro_bias_y);
    printf("\033[5;1H[ GESTURE STATE ]\033[K");
    printf("\033[6;1HState:%-12s  Peak:%8.1f\033[K",
        GestureDetector_StateToString(GestureDetector_GetState()),
        GestureDetector_GetPeakMagnitude());
    printf("\033[8;1H[ ANALYZER OUTPUT ]\033[K");
}

void PrintLogView(void)
{
    static GestureLogEntry_t     g[3];
    static AnalyzerChangeEntry_t a[3];

    uint32_t gc = DataLogger_GetLastGestureEntries(g, 3);
    uint32_t ac = DataLogger_GetLastAnalyzerEntries(a, 3);

    printf("\033[1;1H[ CONFIG ]\033[K");
    printf("\033[2;1HThresh:%.0f  Win:%lums  Frac:%.2f\033[K",
        gesture_magnitude_threshold,
        (unsigned long)gesture_detection_window_ms,
        gesture_peak_fraction);

    printf("\033[4;1H[ GESTURE LOG ]\033[K");
    for (uint32_t i = 0; i < 3; i++)
    {
        if (i < gc)
            printf("\033[%d;1H%-10s  peak:%.0f  dur:%lums\033[K",
                5 + i,
                GestureDetector_Gesturetostring(g[i].gesture_result),
                g[i].peak_magnitude,
                (unsigned long)g[i].duration_ms);
        else
            printf("\033[%d;1H---\033[K", 5 + i);
    }

    printf("\033[9;1H[ ANALYZER CHANGES ]\033[K");
    for (uint32_t i = 0; i < 3; i++)
    {
        if (i < ac)
            printf("\033[%d;1HT:%.0f->%.0f  W:%lu->%lu ms\033[K",
                10 + i,
                a[i].old_threshold, a[i].new_threshold,
                (unsigned long)a[i].old_window_ms,
                (unsigned long)a[i].new_window_ms);
        else
            printf("\033[%d;1H---\033[K", 10 + i);
    }
}

/* USER CODE END 4 */

void Error_Handler(void)
{
  __disable_irq();
  while (1)
  {
  }
}
